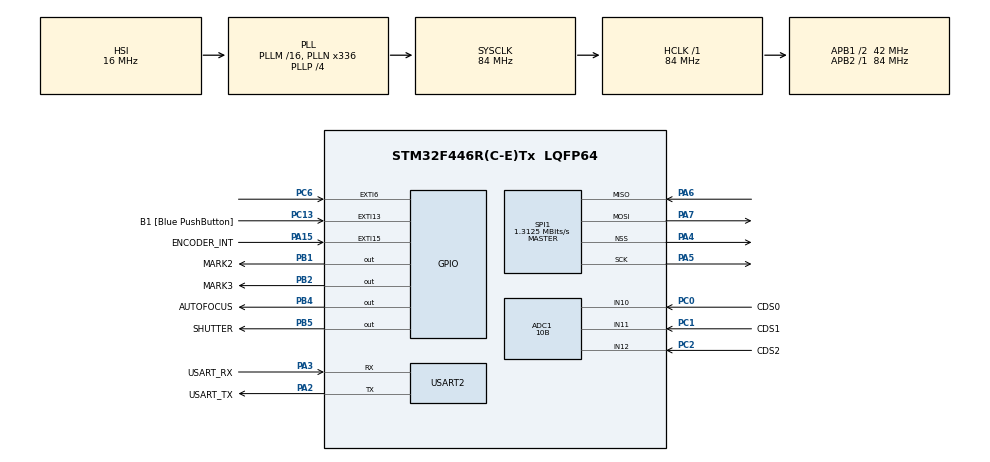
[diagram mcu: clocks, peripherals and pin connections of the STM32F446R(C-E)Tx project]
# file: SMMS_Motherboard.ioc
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Mcu.Family=STM32F4
PA6.Mode=Full_Duplex_Master
PH0-OSC_IN.Signal=RCC_OSC_IN
Dma.SPI1_TX.2.MemInc=DMA_MINC_ENABLE
RCC.CortexFreq_Value=84000000
Dma.SPI1_RX.1.Mode=DMA_NORMAL
Dma.SPI1_RX.1.FIFOMode=DMA_FIFOMODE_DISABLE
SPI1.VirtualType=VM_MASTER
ADC1.ContinuousConvMode=DISABLE
PA14.GPIO_Label=TCK
PB2.GPIO_Speed=GPIO_SPEED_FREQ_VERY_HIGH
PC0.GPIO_Label=CDS0
PC13.GPIO_Label=B1 [Blue PushButton]
RCC.SYSCLKSource=RCC_SYSCLKSOURCE_PLLCLK
ProjectManager.StackSize=0x400
NVIC.ADC_IRQn=true\:0\:0\:false\:false\:true\:true\:true
PA15.GPIO_Label=ENCODER_INT
PA4.Mode=NSS_Signal_Hard_Output
Dma.SPI1_RX.1.PeriphInc=DMA_PINC_DISABLE
PA15.GPIO_ModeDefaultEXTI=GPIO_MODE_IT_RISING
SPI1.Direction=SPI_DIRECTION_2LINES
RCC.HCLKFreq_Value=84000000
ADC1.Resolution=ADC_RESOLUTION_10B
RCC.APB2TimFreq_Value=84000000
Dma.ADC1.0.Direction=DMA_PERIPH_TO_MEMORY
ADC1.Channel-2\#ChannelRegularConversion=ADC_CHANNEL_12
SPI1.CalculateBaudRate=1.3125 MBits/s
NVIC.DMA2_Stream0_IRQn=true\:0\:0\:false\:false\:true\:false\:true
Dma.SPI1_TX.2.Mode=DMA_NORMAL
Dma.ADC1.0.MemDataAlignment=DMA_MDATAALIGN_WORD
RCC.AHBFreq_Value=84000000
PH0-OSC_IN.Mode=HSE-External-Oscillator
NVIC.EXTI15_10_IRQn=true\:0\:0\:false\:true\:true\:2\:true\:true
ADC1.Channel-0\#ChannelRegularConversion=ADC_CHANNEL_10
RCC.HSE_VALUE=8000000
PB2.Signal=GPIO_Output
PB3.Mode=Trace_Asynchronous_SW
Dma.SPI1_RX.1.Priority=DMA_PRIORITY_LOW
ADC1.Rank-2\#ChannelRegularConversion=3
PC14-OSC32_IN.Mode=LSE-External-Oscillator
PB1.GPIO_Speed=GPIO_SPEED_FREQ_VERY_HIGH
PA14.Mode=Trace_Asynchronous_SW
PB1.GPIO_Label=MARK2
Dma.ADC1.0.PeriphInc=DMA_PINC_DISABLE
SPI1.VirtualNSS=VM_NSSHARD
VP_TIM1_VS_ClockSourceINT.Mode=Internal
ADC1.SamplingTime-0\#ChannelRegularConversion=ADC_SAMPLETIME_3CYCLES
Dma.SPI1_RX.1.Direction=DMA_PERIPH_TO_MEMORY
RCC.FLatency-AdvancedSettings=FLASH_LATENCY_2
PB1.PinState=GPIO_PIN_RESET
PH1-OSC_OUT.Mode=HSE-External-Oscillator
Dma.SPI1_TX.2.MemDataAlignment=DMA_MDATAALIGN_BYTE
Mcu.Package=LQFP64
PB1.Signal=GPIO_Output
PA6.Signal=SPI1_MISO
USART2.VirtualMode=VM_ASYNC
PA2.GPIO_Label=USART_TX
PA15.Signal=GPXTI15
PC6.GPIO_PuPd=GPIO_PULLUP
PB5.GPIO_Label=SHUTTER
NVIC.DMA2_Stream2_IRQn=true\:0\:0\:false\:false\:true\:false\:true
Dma.Request2=SPI1_TX
Dma.Request1=SPI1_RX
RCC.APB1TimFreq_Value=84000000
Dma.ADC1.0.FIFOMode=DMA_FIFOMODE_DISABLE
Dma.SPI1_TX.2.Priority=DMA_PRIORITY_LOW
Dma.Request0=ADC1
SPI1.BaudRatePrescaler=SPI_BAUDRATEPRESCALER_64
Dma.SPI1_RX.1.MemInc=DMA_MINC_ENABLE
PC2.GPIO_Label=CDS2
PB4.Signal=GPIO_Output
Dma.SPI1_TX.2.PeriphInc=DMA_PINC_DISABLE
PA3.Signal=USART2_RX
PA5.Mode=Full_Duplex_Master
PB3.GPIO_Label=SWO
Dma.SPI1_RX.1.Instance=DMA2_Stream2
PC15-OSC32_OUT.Mode=LSE-External-Oscillator
Dma.ADC1.0.Instance=DMA2_Stream0
ADC1.Rank-0\#ChannelRegularConversion=1
PA7.Mode=Full_Duplex_Master
Dma.SPI1_TX.2.Direction=DMA_MEMORY_TO_PERIPH
Dma.SPI1_RX.1.MemDataAlignment=DMA_MDATAALIGN_BYTE
PC13.Signal=GPXTI13
PC2.Signal=ADCx_IN12
PC6.Signal=GPXTI6
PC0.Signal=ADCx_IN10
RCC.APB1CLKDivider=RCC_HCLK_DIV2
PC14-OSC32_IN.Signal=RCC_OSC32_IN
NVIC.USART2_IRQn=true\:0\:0\:false\:true\:true\:1\:true\:true
ADC1.SamplingTime-2\#ChannelRegularConversion=ADC_SAMPLETIME_3CYCLES
PA3.Mode=Asynchronous
PA13.Signal=SYS_JTMS-SWDIO
Dma.ADC1.0.PeriphDataAlignment=DMA_PDATAALIGN_WORD
SH.ADCx_IN12.0=ADC1_IN12,IN12
Dma.SPI1_TX.2.Instance=DMA2_Stream3
PC6.GPIO_ModeDefaultEXTI=GPIO_MODE_IT_FALLING
ProjectManager.TargetToolchain=STM32CubeIDE
Dma.ADC1.0.Mode=DMA_CIRCULAR
Dma.ADC1.0.Priority=DMA_PRIORITY_LOW
ADC1.Channel-1\#ChannelRegularConversion=ADC_CHANNEL_11
Dma.SPI1_TX.2.FIFOMode=DMA_FIFOMODE_DISABLE
RCC.USBFreq_Value=168000000
Dma.SPI1_TX.2.PeriphDataAlignment=DMA_PDATAALIGN_BYTE
NVIC.DMA2_Stream3_IRQn=true\:0\:0\:false\:false\:true\:false\:true
PC15-OSC32_OUT.Signal=RCC_OSC32_OUT
PA5.Signal=SPI1_SCK
board=NUCLEO-F446RE
RCC.VCOOutputFreq_Value=336000000
ADC1.EnableAnalogWatchDog=false
NVIC.SPI1_IRQn=true\:0\:0\:false\:false\:true\:true\:true
RCC.APB2Freq_Value=84000000
SH.ADCx_IN11.0=ADC1_IN11,IN11
PB4.GPIO_Label=AUTOFOCUS
SPI1.Mode=SPI_MODE_MASTER
PC1.GPIO_Label=CDS1
PH1-OSC_OUT.Signal=RCC_OSC_OUT
ADC1.NbrOfConversion=3
PA13.Mode=Trace_Asynchronous_SW
Mcu.Name=STM32F446R(C-E)Tx
PA2.Signal=USART2_TX
PA13.GPIO_Label=TMS
Dma.SPI1_RX.1.PeriphDataAlignment=DMA_PDATAALIGN_BYTE
RCC.48MHZClocksFreq_Value=84000000
PB3.Signal=SYS_JTDO-SWO
ADC1.SamplingTime-1\#ChannelRegularConversion=ADC_SAMPLETIME_3CYCLES
PA4.Signal=SPI1_NSS
RCC.SYSCLKFreq_VALUE=84000000
PB5.Signal=GPIO_Output
ADC1.master=1
PC13.GPIO_ModeDefaultEXTI=GPIO_MODE_IT_FALLING
ADC1.Rank-1\#ChannelRegularConversion=2
NVIC.EXTI9_5_IRQn=true\:0\:0\:false\:false\:true\:true\:true
PA14.Signal=SYS_JTCK-SWCLK
Dma.ADC1.0.MemInc=DMA_MINC_ENABLE
PB2.GPIO_Label=MARK3
SH.ADCx_IN10.0=ADC1_IN10,IN10
ProjectManager.HeapSize=0x200
RCC.HSI_VALUE=16000000
RCC.PLLP=RCC_PLLP_DIV4
NVIC.PriorityGroup=NVIC_PRIORITYGROUP_0
ADC1.NbrOfConversionFlag=1
RCC.PLLN=336
PA15.GPIO_PuPd=GPIO_NOPULL
PA2.Mode=Asynchronous
RCC.APB1Freq_Value=42000000
PC1.Signal=ADCx_IN11
PA3.GPIO_Label=USART_RX
PA7.Signal=SPI1_MOSI

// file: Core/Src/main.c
/* USER CODE BEGIN Header */
/**
 ******************************************************************************
 * @file           : main.c
 * @brief          : Main program body
 ******************************************************************************
 * @attention
 *
 * <h2><center>&copy; Copyright (c) 2020 STMicroelectronics.
 * All rights reserved.</center></h2>
 *
 * This software component is licensed by ST under BSD 3-Clause license,
 * the "License"; You may not use this file except in compliance with the
 * License. You may obtain a copy of the License at:
 *                        opensource.org/licenses/BSD-3-Clause
 *
 ******************************************************************************
 */
/* USER CODE END Header */
#include "main.h"

/* USER CODE BEGIN Includes */
#include <stdio.h>
#include <stdbool.h>
#include <string.h>
#include <stdlib.h>
/* USER CODE END Includes */

/* USER CODE BEGIN PTD */
typedef struct wheel_param
{
	float car_w_rad; // Car Wheel Radius >> 0.275(m)
	float tgt_dist; // Target Distance (Camera Action) >> 5.0(m)
	uint32_t one_rot_enc_pls; // 1 rotation encoder pulse value >> 2000
} __attribute__((aligned(1), packed)) wheel_param_t;
/* USER CODE END PTD */

/* USER CODE BEGIN PD */
#define TARGET_PULSE_NUMBER 1

#define DIVISOR 1

#define MAX_BUFLEN 1024
/* USER CODE END PD */

ADC_HandleTypeDef hadc1;
DMA_HandleTypeDef hdma_adc1;

SPI_HandleTypeDef hspi1;
DMA_HandleTypeDef hdma_spi1_rx;
DMA_HandleTypeDef hdma_spi1_tx;

TIM_HandleTypeDef htim1;

UART_HandleTypeDef huart2;

/* USER CODE BEGIN PV */
// STDIO BUF, Head, Tail
char stdio_buf[MAX_BUFLEN]; // used
int stdio_buf_head = 0, stdio_buf_tail = 0; // used

// UART Command
char uart_rx_buf[20] =
{ 0 }; // data input buf used
char uart_rx_cmd; // get char used
uint8_t uart_it_buf; // UART interrupt buf used

// Flag
uint8_t cam_f = 0; // Camera used
uint8_t uart_f = 0; // Uart Action(Camera ADC) used
uint8_t conf_mod_f = 0; // Configuration Mode used

// Encoder struct, encoder value
wheel_param_t wp;
int enc_val_for_photo_dist = -1;

// CDS Sensor
int adc_val[3]; // ADC DATA SAVE

HAL_StatusTypeDef result;
/* USER CODE END PV */

void SystemClock_Config(void);
static void MX_GPIO_Init(void);
static void MX_DMA_Init(void);
static void MX_USART2_UART_Init(void);
static void MX_ADC1_Init(void);
static void MX_SPI1_Init(void);
static void MX_TIM1_Init(void);
static void MX_NVIC_Init(void);

/* USER CODE BEGIN 0 */

float diameter(float radius)
{
	return (2 * 3.1415 * radius);
}

float n_of_rot_to_photo_dist(float tgt_dist, float w_diameter)
{
	return (tgt_dist / w_diameter);
}

int tgt_pls_cnt(float w_turn_enc_pls, int enc_pls_f)
{
	return (int) ((((w_turn_enc_pls * enc_pls_f) / TARGET_PULSE_NUMBER)
			/ DIVISOR));
}

void HAL_UART_RxCpltCallback(UART_HandleTypeDef *huart)
{
	if (huart->Instance == huart2.Instance)
	{
		HAL_UART_Receive_IT(&huart2, &uart_it_buf, 1);
		stdio_buf[stdio_buf_tail] = huart->pRxBuffPtr[0];
		stdio_buf_tail++;
		stdio_buf_tail %= MAX_BUFLEN;
	}
} // END OF UART2
int _write(int file, unsigned char *p, int len)
{
	HAL_UART_Transmit(&huart2, p, len, 100);
	return len;
}
/*
 int __io_putchar(int ch) {
 uint8_t *tr = (uint8_t*) &ch;
 HAL_UART_Transmit(&huart2, &tr[0], 1, -1);
 return ch;
 }
 */
int __io_getchar()
{
	register int ret;

	__retry: if (stdio_buf_head != stdio_buf_tail)
	{
		ret = stdio_buf[stdio_buf_head];
		if (ret == '\r' || ret == '\n')
		{
			ret = '\n';
		}
		stdio_buf_head++;
		stdio_buf_head %= MAX_BUFLEN;
	}
	else
	{
		goto __retry;
		//return -1;
	}
	return ret;
}

void HAL_GPIO_EXTI_Callback(uint16_t GPIO_Pin) // GPIO INTERRUPT
{
	if (GPIO_Pin == GPIO_PIN_6) //
	{
		HAL_GPIO_WritePin(MARK2_GPIO_Port, MARK2_Pin, SET);
	}
	else if (GPIO_Pin == ENCODER_INT_Pin) // ENCODER INTERRUPT
	{
		HAL_ADC_Start_DMA(&hadc1, (uint32_t*) adc_val, 3);
		for (int i = 0; i < 3; i++)
		{ // ADC data save
			HAL_DMA_PollForTransfer(&hdma_adc1, HAL_DMA_FULL_TRANSFER, 100); // ADC DATA GET 3
		}
		HAL_ADC_Stop_DMA(&hadc1);
		printf("light value : ADC = %04d   %04d   %04d\r\n", adc_val[0],
				adc_val[1], adc_val[2]);
	}
}
/* USER CODE END 0 */

int main(void)
{

	/* MCU Configuration--------------------------------------------------------*/

	/* Reset of all peripherals, Initializes the Flash interface and the Systick. */
	HAL_Init();

	/* Configure the system clock */
	SystemClock_Config();

	/* Initialize all configured peripherals */
	MX_GPIO_Init();
	MX_DMA_Init();
	MX_USART2_UART_Init();
	MX_ADC1_Init();
	MX_SPI1_Init();
	MX_TIM1_Init();

	/* Initialize interrupts */
	MX_NVIC_Init();
	/* USER CODE BEGIN 2 */
	HAL_UART_Receive_IT(&huart2, &uart_it_buf, 1);
	printf(
			"Hello Commander! Activate Camera : s   Car Configuration : c\r\n\r\n");
	enc_val_for_photo_dist = tgt_pls_cnt(
			n_of_rot_to_photo_dist(wp.tgt_dist, diameter(wp.car_w_rad)),
			wp.one_rot_enc_pls);

	/* USER CODE END 2 */

	/* Infinite loop */
	while (1)
	{

		/* USER CODE BEGIN 3 */
		HAL_UART_Receive_IT(&huart2, &uart_it_buf, 1);
		uart_rx_cmd = getchar();

		if ((uart_rx_cmd == 's' || uart_rx_cmd == 'S') && conf_mod_f == 0)
		{ // UART INPUT 'S'
			printf("Camera activated\r\n");
			HAL_GPIO_WritePin(AUTOFOCUS_GPIO_Port, AUTOFOCUS_Pin, SET);
			HAL_GPIO_WritePin(SHUTTER_GPIO_Port, SHUTTER_Pin, SET);
			HAL_GPIO_WritePin(MARK2_GPIO_Port, MARK2_Pin, RESET);
			cam_f = 1;
			uart_f = 1;
			if (cam_f == 1)
			{ // Camera Action
				HAL_Delay(10);
				HAL_GPIO_WritePin(AUTOFOCUS_GPIO_Port, AUTOFOCUS_Pin, RESET);
				HAL_GPIO_WritePin(SHUTTER_GPIO_Port, SHUTTER_Pin, RESET);
				cam_f = 0;
			}
			if (uart_f == 1)
			{
				HAL_ADC_Start_DMA(&hadc1, (uint32_t*) adc_val, 3);
				for (int i = 0; i < 3; i++)
				{ // ADC data save
					HAL_DMA_PollForTransfer(&hdma_adc1, HAL_DMA_FULL_TRANSFER,
							100); // ADC DATA GET 3
				}
				HAL_ADC_Stop_DMA(&hadc1);
				printf("light value : ADC = %04d   %04d   %04d\r\n", adc_val[0],
						adc_val[1], adc_val[2]);
				uart_f = 0;
			}
		}
		if ((uart_rx_cmd == 'c' || uart_rx_cmd == 'C') && conf_mod_f == 0)
		{
			printf("Car configuration activated. Plz input data\r\n");
			printf(
					"R.Radius\r\nE.Encoder pulse count\r\nT.Target Distance\r\nF.Forwarding Data\r\nV.View\r\nx.EXIT\r\n");
			conf_mod_f = 1;
		}
		// Command Mode Index
		if (conf_mod_f == 1)
		{
			switch (uart_rx_cmd)
			{ // UART INPUT 'C' // Configuration Mode
			case 'r': // Car radius
			case 'R':
				printf("\r\nRadius data input\r\n");
				gets(uart_rx_buf); // Read Data
				printf("Input Data : %s / ArrSize : %d\r\n", uart_rx_buf,
						sizeof(wp)); // Print Data
				wp.car_w_rad = atof(uart_rx_buf);
				enc_val_for_photo_dist = tgt_pls_cnt(
						n_of_rot_to_photo_dist(wp.tgt_dist,
								diameter(wp.car_w_rad)), wp.one_rot_enc_pls);
				break;
			case 'e': // Encoder pluse
			case 'E':
				printf("\r\nEncoder pulse count input\r\n");
				gets(uart_rx_buf); // Read Data
				printf("Input Data : %s / ArrSize : %d\r\n", uart_rx_buf,
						sizeof(wp)); // Print Data
				wp.one_rot_enc_pls = atoi(uart_rx_buf);
				if (wp.one_rot_enc_pls == 0)
				{
					break;
				}
				enc_val_for_photo_dist = tgt_pls_cnt(
						n_of_rot_to_photo_dist(wp.tgt_dist,
								diameter(wp.car_w_rad)), wp.one_rot_enc_pls);
				break;
			case 't': // Target distance
			case 'T':
				printf("\r\nTarget Distance input\r\n");
				gets(uart_rx_buf); // Read Data
				printf("Input Data : %s / ArrSize : %d\r\n", uart_rx_buf,
						sizeof(wp)); // Print Data
				wp.tgt_dist = atof(uart_rx_buf);
				enc_val_for_photo_dist = tgt_pls_cnt(
						n_of_rot_to_photo_dist(wp.tgt_dist,
								diameter(wp.car_w_rad)), wp.one_rot_enc_pls);
				break;
			case 'f': // Data Save
			case 'F':
				printf("\r\nForwarding data\r\n");
				HAL_SPI_Transmit(&hspi1, (uint8_t*) &wp, sizeof(wp), -1);
				printf("Activate Camera : s   Car Configuration : c\r\n\r\n");
				conf_mod_f = 0;
				break;
			case 'v': // Data View
			case 'V':
				printf(
						"\r\nEncoderPulseCnt = %lu\r\nWheel Radius = %0.5f\r\nTrigger Distance = %0.2f\r\nTarget pulse count = %d\r\n",
						wp.one_rot_enc_pls, wp.car_w_rad, wp.tgt_dist,
						enc_val_for_photo_dist);
				break;
			case 'x': // EXIT
			case 'X':
				printf("\r\nINPUT MODE CLOSE\r\n");
				printf("Activate Camera : s   Car Configuration : c\r\n\r\n");
				conf_mod_f = 0;
				break;
			} // End of Switch Case
		} // End of If
	} // End of While
	/* USER CODE END 3 */
}

void SystemClock_Config(void)
{
	RCC_OscInitTypeDef RCC_OscInitStruct =
	{ 0 };
	RCC_ClkInitTypeDef RCC_ClkInitStruct =
	{ 0 };

	/** Configure the main internal regulator output voltage
	 */
	__HAL_RCC_PWR_CLK_ENABLE();
	__HAL_PWR_VOLTAGESCALING_CONFIG(PWR_REGULATOR_VOLTAGE_SCALE3);
	/** Initializes the RCC Oscillators according to the specified parameters
	 * in the RCC_OscInitTypeDef structure.
	 */
	RCC_OscInitStruct.OscillatorType = RCC_OSCILLATORTYPE_HSI;
	RCC_OscInitStruct.HSIState = RCC_HSI_ON;
	RCC_OscInitStruct.HSICalibrationValue = RCC_HSICALIBRATION_DEFAULT;
	RCC_OscInitStruct.PLL.PLLState = RCC_PLL_ON;
	RCC_OscInitStruct.PLL.PLLSource = RCC_PLLSOURCE_HSI;
	RCC_OscInitStruct.PLL.PLLM = 16;
	RCC_OscInitStruct.PLL.PLLN = 336;
	RCC_OscInitStruct.PLL.PLLP = RCC_PLLP_DIV4;
	RCC_OscInitStruct.PLL.PLLQ = 2;
	RCC_OscInitStruct.PLL.PLLR = 2;
	if (HAL_RCC_OscConfig(&RCC_OscInitStruct) != HAL_OK)
	{
		Error_Handler();
	}
	/** Initializes the CPU, AHB and APB buses clocks
	 */
	RCC_ClkInitStruct.ClockType = RCC_CLOCKTYPE_HCLK | RCC_CLOCKTYPE_SYSCLK
			| RCC_CLOCKTYPE_PCLK1 | RCC_CLOCKTYPE_PCLK2;
	RCC_ClkInitStruct.SYSCLKSource = RCC_SYSCLKSOURCE_PLLCLK;
	RCC_ClkInitStruct.AHBCLKDivider = RCC_SYSCLK_DIV1;
	RCC_ClkInitStruct.APB1CLKDivider = RCC_HCLK_DIV2;
	RCC_ClkInitStruct.APB2CLKDivider = RCC_HCLK_DIV1;

	if (HAL_RCC_ClockConfig(&RCC_ClkInitStruct, FLASH_LATENCY_2) != HAL_OK)
	{
		Error_Handler();
	}
}

/**
 * @brief NVIC Configuration.
 * @retval None
 */
static void MX_NVIC_Init(void)
{
	/* USART2_IRQn interrupt configuration */
	HAL_NVIC_SetPriority(USART2_IRQn, 0, 0);
	HAL_NVIC_EnableIRQ(USART2_IRQn);
	/* EXTI15_10_IRQn interrupt configuration */
	HAL_NVIC_SetPriority(EXTI15_10_IRQn, 0, 0);
	HAL_NVIC_EnableIRQ(EXTI15_10_IRQn);
}

static void MX_ADC1_Init(void)
{

	ADC_ChannelConfTypeDef sConfig =
	{ 0 };

	/** Configure the global features of the ADC (Clock, Resolution, Data Alignment and number of conversion)
	 */
	hadc1.Instance = ADC1;
	hadc1.Init.ClockPrescaler = ADC_CLOCK_SYNC_PCLK_DIV4;
	hadc1.Init.Resolution = ADC_RESOLUTION_10B;
	hadc1.Init.ScanConvMode = ENABLE;
	hadc1.Init.ContinuousConvMode = DISABLE;
	hadc1.Init.DiscontinuousConvMode = DISABLE;
	hadc1.Init.ExternalTrigConvEdge = ADC_EXTERNALTRIGCONVEDGE_NONE;
	hadc1.Init.ExternalTrigConv = ADC_SOFTWARE_START;
	hadc1.Init.DataAlign = ADC_DATAALIGN_RIGHT;
	hadc1.Init.NbrOfConversion = 3;
	hadc1.Init.DMAContinuousRequests = DISABLE;
	hadc1.Init.EOCSelection = ADC_EOC_SINGLE_CONV;
	if (HAL_ADC_Init(&hadc1) != HAL_OK)
	{
		Error_Handler();
	}
	/** Configure for the selected ADC regular channel its corresponding rank in the sequencer and its sample time.
	 */
	sConfig.Channel = ADC_CHANNEL_10;
	sConfig.Rank = 1;
	sConfig.SamplingTime = ADC_SAMPLETIME_3CYCLES;
	if (HAL_ADC_ConfigChannel(&hadc1, &sConfig) != HAL_OK)
	{
		Error_Handler();
	}
	/** Configure for the selected ADC regular channel its corresponding rank in the sequencer and its sample time.
	 */
	sConfig.Channel = ADC_CHANNEL_11;
	sConfig.Rank = 2;
	if (HAL_ADC_ConfigChannel(&hadc1, &sConfig) != HAL_OK)
	{
		Error_Handler();
	}
	/** Configure for the selected ADC regular channel its corresponding rank in the sequencer and its sample time.
	 */
	sConfig.Channel = ADC_CHANNEL_12;
	sConfig.Rank = 3;
	if (HAL_ADC_ConfigChannel(&hadc1, &sConfig) != HAL_OK)
	{
		Error_Handler();
	}

}

static void MX_SPI1_Init(void)
{

	/* SPI1 parameter configuration*/
	hspi1.Instance = SPI1;
	hspi1.Init.Mode = SPI_MODE_MASTER;
	hspi1.Init.Direction = SPI_DIRECTION_2LINES;
	hspi1.Init.DataSize = SPI_DATASIZE_8BIT;
	hspi1.Init.CLKPolarity = SPI_POLARITY_LOW;
	hspi1.Init.CLKPhase = SPI_PHASE_1EDGE;
	hspi1.Init.NSS = SPI_NSS_HARD_OUTPUT;
	hspi1.Init.BaudRatePrescaler = SPI_BAUDRATEPRESCALER_64;
	hspi1.Init.FirstBit = SPI_FIRSTBIT_MSB;
	hspi1.Init.TIMode = SPI_TIMODE_DISABLE;
	hspi1.Init.CRCCalculation = SPI_CRCCALCULATION_DISABLE;
	hspi1.Init.CRCPolynomial = 10;
	if (HAL_SPI_Init(&hspi1) != HAL_OK)
	{
		Error_Handler();
	}

}

static void MX_TIM1_Init(void)
{

	TIM_ClockConfigTypeDef sClockSourceConfig =
	{ 0 };
	TIM_MasterConfigTypeDef sMasterConfig =
	{ 0 };

	htim1.Instance = TIM1;
	htim1.Init.Prescaler = 0;
	htim1.Init.CounterMode = TIM_COUNTERMODE_UP;
	htim1.Init.Period = 65535;
	htim1.Init.ClockDivision = TIM_CLOCKDIVISION_DIV1;
	htim1.Init.RepetitionCounter = 0;
	htim1.Init.AutoReloadPreload = TIM_AUTORELOAD_PRELOAD_DISABLE;
	if (HAL_TIM_Base_Init(&htim1) != HAL_OK)
	{
		Error_Handler();
	}
	sClockSourceConfig.ClockSource = TIM_CLOCKSOURCE_INTERNAL;
	if (HAL_TIM_ConfigClockSource(&htim1, &sClockSourceConfig) != HAL_OK)
	{
		Error_Handler();
	}
	sMasterConfig.MasterOutputTrigger = TIM_TRGO_RESET;
	sMasterConfig.MasterSlaveMode = TIM_MASTERSLAVEMODE_DISABLE;
	if (HAL_TIMEx_MasterConfigSynchronization(&htim1, &sMasterConfig) != HAL_OK)
	{
		Error_Handler();
	}

}

static void MX_USART2_UART_Init(void)
{

	huart2.Instance = USART2;
	huart2.Init.BaudRate = 115200;
	huart2.Init.WordLength = UART_WORDLENGTH_8B;
	huart2.Init.StopBits = UART_STOPBITS_1;
	huart2.Init.Parity = UART_PARITY_NONE;
	huart2.Init.Mode = UART_MODE_TX_RX;
	huart2.Init.HwFlowCtl = UART_HWCONTROL_NONE;
	huart2.Init.OverSampling = UART_OVERSAMPLING_16;
	if (HAL_UART_Init(&huart2) != HAL_OK)
	{
		Error_Handler();
	}

}

static void MX_DMA_Init(void)
{

	/* DMA controller clock enable */
	__HAL_RCC_DMA2_CLK_ENABLE();

	/* DMA interrupt init */
	/* DMA2_Stream0_IRQn interrupt configuration */
	HAL_NVIC_SetPriority(DMA2_Stream0_IRQn, 0, 0);
	HAL_NVIC_EnableIRQ(DMA2_Stream0_IRQn);
	/* DMA2_Stream2_IRQn interrupt configuration */
	HAL_NVIC_SetPriority(DMA2_Stream2_IRQn, 0, 0);
	HAL_NVIC_EnableIRQ(DMA2_Stream2_IRQn);
	/* DMA2_Stream3_IRQn interrupt configuration */
	HAL_NVIC_SetPriority(DMA2_Stream3_IRQn, 0, 0);
	HAL_NVIC_EnableIRQ(DMA2_Stream3_IRQn);

}

static void MX_GPIO_Init(void)
{
	GPIO_InitTypeDef GPIO_InitStruct =
	{ 0 };

	/* GPIO Ports Clock Enable */
	__HAL_RCC_GPIOC_CLK_ENABLE();
	__HAL_RCC_GPIOH_CLK_ENABLE();
	__HAL_RCC_GPIOA_CLK_ENABLE();
	__HAL_RCC_GPIOB_CLK_ENABLE();

	/*Configure GPIO pin Output Level */
	HAL_GPIO_WritePin(GPIOB,
	MARK2_Pin | MARK3_Pin | AUTOFOCUS_Pin | SHUTTER_Pin, GPIO_PIN_RESET);

	/*Configure GPIO pin : B1_Pin */
	GPIO_InitStruct.Pin = B1_Pin;
	GPIO_InitStruct.Mode = GPIO_MODE_IT_FALLING;
	GPIO_InitStruct.Pull = GPIO_NOPULL;
	HAL_GPIO_Init(B1_GPIO_Port, &GPIO_InitStruct);

	/*Configure GPIO pins : MARK2_Pin MARK3_Pin */
	GPIO_InitStruct.Pin = MARK2_Pin | MARK3_Pin;
	GPIO_InitStruct.Mode = GPIO_MODE_OUTPUT_PP;
	GPIO_InitStruct.Pull = GPIO_NOPULL;
	GPIO_InitStruct.Speed = GPIO_SPEED_FREQ_VERY_HIGH;
	HAL_GPIO_Init(GPIOB, &GPIO_InitStruct);

	/*Configure GPIO pin : PC6 */
	GPIO_InitStruct.Pin = GPIO_PIN_6;
	GPIO_InitStruct.Mode = GPIO_MODE_IT_FALLING;
	GPIO_InitStruct.Pull = GPIO_PULLUP;
	HAL_GPIO_Init(GPIOC, &GPIO_InitStruct);

	/*Configure GPIO pin : ENCODER_INT_Pin */
	GPIO_InitStruct.Pin = ENCODER_INT_Pin;
	GPIO_InitStruct.Mode = GPIO_MODE_IT_RISING;
	GPIO_InitStruct.Pull = GPIO_NOPULL;
	HAL_GPIO_Init(ENCODER_INT_GPIO_Port, &GPIO_InitStruct);

	/*Configure GPIO pins : AUTOFOCUS_Pin SHUTTER_Pin */
	GPIO_InitStruct.Pin = AUTOFOCUS_Pin | SHUTTER_Pin;
	GPIO_InitStruct.Mode = GPIO_MODE_OUTPUT_PP;
	GPIO_InitStruct.Pull = GPIO_NOPULL;
	GPIO_InitStruct.Speed = GPIO_SPEED_FREQ_LOW;
	HAL_GPIO_Init(GPIOB, &GPIO_InitStruct);

	/* EXTI interrupt init*/
	HAL_NVIC_SetPriority(EXTI9_5_IRQn, 0, 0);
	HAL_NVIC_EnableIRQ(EXTI9_5_IRQn);

}

void Error_Handler(void)
{
}

/************************ (C) COPYRIGHT STMicroelectronics *****END OF FILE****/
